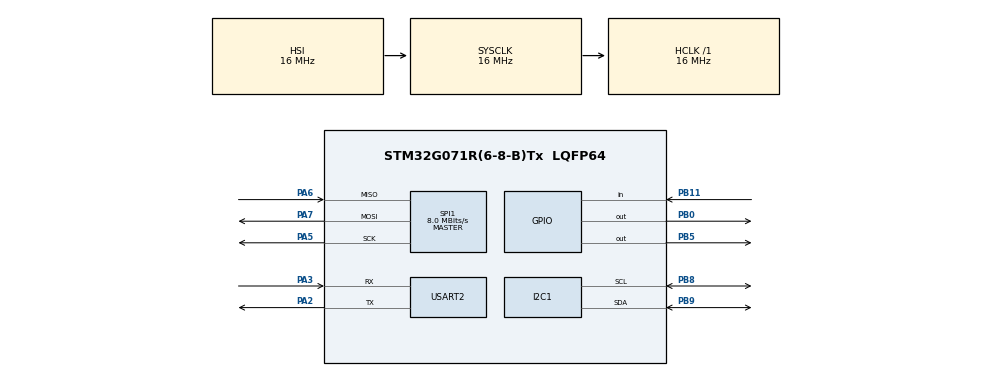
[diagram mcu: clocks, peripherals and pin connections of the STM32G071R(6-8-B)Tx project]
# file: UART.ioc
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I2C1.Timing=0x00503D58
Mcu.Family=STM32G0
Mcu.Name=STM32G071R(6-8-B)Tx
Mcu.Package=LQFP64
NVIC.USART2_IRQn=true\:0\:0\:false\:false\:true\:true\:true\:true
PA2.Mode=Asynchronous
PA2.Signal=USART2_TX
PA3.Mode=Asynchronous
PA3.Signal=USART2_RX
PA5.Mode=Full_Duplex_Master
PA5.Signal=SPI1_SCK
PA6.Mode=Full_Duplex_Master
PA6.Signal=SPI1_MISO
PA7.Mode=Full_Duplex_Master
PA7.Signal=SPI1_MOSI
PB0.Signal=GPIO_Output
PB11.Signal=GPIO_Input
PB5.Signal=GPIO_Output
PB8.Mode=I2C
PB8.Signal=I2C1_SCL
PB9.Mode=I2C
PB9.Signal=I2C1_SDA
ProjectManager.HeapSize=0x200
ProjectManager.StackSize=0x400
ProjectManager.TargetToolchain=STM32CubeIDE
RCC.AHBFreq_Value=16000000
RCC.CortexFreq_Value=16000000
RCC.EXTERNAL_CLOCK_VALUE=48000
RCC.HCLKFreq_Value=16000000
RCC.HSE_VALUE=8000000
RCC.HSI_VALUE=16000000
RCC.LSE_VALUE=32768
RCC.SYSCLKFreq_VALUE=16000000
RCC.VCOOutputFreq_Value=128000000
SPI1.CalculateBaudRate=8.0 MBits/s
SPI1.Direction=SPI_DIRECTION_2LINES
SPI1.Mode=SPI_MODE_MASTER
SPI1.VirtualType=VM_MASTER
USART2.VirtualMode-Asynchronous=VM_ASYNC
board=custom

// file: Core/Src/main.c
/* USER CODE BEGIN Header */
/**
 ******************************************************************************
 * @file           : main.c
 * @brief          : UART-command demo with BME68x sensor (I²C1) on STM32G071
 ******************************************************************************
 */
/* USER CODE END Header */
#include "main.h"

/* USER CODE BEGIN Includes */
#include "sx126x.h"
#include "sx126x_hal.h"
#include <bme68x.h>
#include <ctype.h>
#include <stdio.h>
#include <string.h>

/* USER CODE END Includes */

I2C_HandleTypeDef hi2c1;

SPI_HandleTypeDef hspi1;

UART_HandleTypeDef huart2;

/* USER CODE BEGIN PV */
#define RX_BUFFER_SIZE 100
static char rx_buffer[RX_BUFFER_SIZE];
static uint8_t rx_index = 0;
static uint8_t rx_char;
volatile uint8_t cmd_ready = 0; // Flag to indicate command is ready
volatile uint8_t cmd_buffer[RX_BUFFER_SIZE]; // Buffer for command processing
volatile uint8_t cmd_length = 0;             // Length of command
struct bme68x_dev bme;
int8_t bme_rslt;
/* LoRa Declarations */
const void *lora_context = NULL;
uint8_t emergency_stop = 0;

/* USER CODE END PV */

void SystemClock_Config(void);
static void MX_GPIO_Init(void);
static void MX_USART2_UART_Init(void);
static void MX_I2C1_Init(void);
static void MX_SPI1_Init(void);
/* USER CODE BEGIN PFP */
int8_t user_i2c_read(uint8_t reg_addr, uint8_t *data, uint32_t len,
                     void *intf_ptr);
int8_t user_i2c_write(uint8_t reg_addr, const uint8_t *data, uint32_t len,
                      void *intf_ptr);
void user_delay_us(uint32_t period, void *intf_ptr);
void BME68x_Init(void);
void process_command(char *command);
void lora_tx_message(const char *message);
void lora_continuous_tx(void);
uint8_t lora_detect_hardware(void);
void lora_configure(void);
void debug_busy_pin(void);
void lora_wait_for_not_busy(void);
/* USER CODE END PFP */

/* USER CODE BEGIN 0 */
/* LoRa config ---------------------------------------------------------------*/
#define LORA_FREQ_HZ 868000000
#define LORA_TX_POWER 14
#define LORA_PAYLOAD_LEN 18
uint8_t lora_payload[LORA_PAYLOAD_LEN] = "Hello from STM32!";

// GPIO Pin definitions
#define LORA_RESET_PIN GPIO_PIN_5
#define LORA_RESET_PORT GPIOB
#define LORA_BUSY_PIN GPIO_PIN_11
#define LORA_BUSY_PORT GPIOB
#define LORA_NSS_PIN GPIO_PIN_10
#define LORA_NSS_PORT GPIOB
// Bosch driver-compatible functions
int8_t user_i2c_read(uint8_t reg_addr, uint8_t *data, uint32_t len,
                     void *intf_ptr) {
  I2C_HandleTypeDef *i2c = (I2C_HandleTypeDef *)intf_ptr;
  uint8_t dev_addr = BME68X_I2C_ADDR_LOW << 1; // 0x76, change to _HIGH for 0x77
  if (HAL_I2C_Mem_Read(i2c, dev_addr, reg_addr, I2C_MEMADD_SIZE_8BIT, data, len,
                       HAL_MAX_DELAY) == HAL_OK)
    return BME68X_OK;
  else
    return BME68X_E_COM_FAIL;
}

int8_t user_i2c_write(uint8_t reg_addr, const uint8_t *data, uint32_t len,
                      void *intf_ptr) {
  I2C_HandleTypeDef *i2c = (I2C_HandleTypeDef *)intf_ptr;
  uint8_t dev_addr = BME68X_I2C_ADDR_LOW << 1; // 0x76, change to _HIGH for 0x77
  if (HAL_I2C_Mem_Write(i2c, dev_addr, reg_addr, I2C_MEMADD_SIZE_8BIT,
                        (uint8_t *)data, len, HAL_MAX_DELAY) == HAL_OK)
    return BME68X_OK;
  else
    return BME68X_E_COM_FAIL;
}

void user_delay_us(uint32_t period, void *intf_ptr) {
  // Convert microseconds to milliseconds (round up)
  uint32_t ms = (period + 999) / 1000;
  HAL_Delay(ms);
}

void BME68x_Init(void) {
  bme.intf = BME68X_I2C_INTF;
  bme.read = user_i2c_read;
  bme.write = user_i2c_write;
  bme.delay_us = user_delay_us;
  bme.intf_ptr = &hi2c1;
  bme.amb_temp = 25;

  /* Step 1: Init device */
  bme_rslt = bme68x_init(&bme);
  if (bme_rslt != BME68X_OK) {
    // Debug: BME680 init failed
    const char *debug_msg = "[STM32] BME680 init failed!\r\n";
    HAL_UART_Transmit(&huart2, (uint8_t *)debug_msg, strlen(debug_msg),
                      HAL_MAX_DELAY);
    Error_Handler();
  }

  // Debug: BME680 init successful
  const char *debug_msg = "[STM32] BME680 init successful!\r\n";
  HAL_UART_Transmit(&huart2, (uint8_t *)debug_msg, strlen(debug_msg),
                    HAL_MAX_DELAY);

  /* Step 2: Configure oversampling and filter */
  struct bme68x_conf conf;
  bme_rslt = bme68x_get_conf(&conf, &bme);
  if (bme_rslt != BME68X_OK)
    Error_Handler();

  conf.os_hum = BME68X_OS_1X;      // Fastest humidity reading
  conf.os_temp = BME68X_OS_1X;     // Fastest temperature reading
  conf.os_pres = BME68X_OS_1X;     // Fastest pressure reading
  conf.filter = BME68X_FILTER_OFF; // No filter for fastest response

  bme_rslt = bme68x_set_conf(&conf, &bme);
  if (bme_rslt != BME68X_OK)
    Error_Handler();

  /* Step 3: Heater config (disabled for faster response) */
  struct bme68x_heatr_conf heatr_conf;
  heatr_conf.enable = BME68X_DISABLE; // Disable heater for faster readings
  heatr_conf.heatr_temp = 320;        // in °C
  heatr_conf.heatr_dur = 150;         // in ms

  bme_rslt = bme68x_set_heatr_conf(BME68X_FORCED_MODE, &heatr_conf, &bme);
  if (bme_rslt != BME68X_OK)
    Error_Handler();
}
void debug_busy_pin(void) {
  const char msg[] = "Debugging BUSY pin...\r\n";
  HAL_UART_Transmit(&huart2, (uint8_t *)msg, strlen(msg), HAL_MAX_DELAY);

  for (int i = 0; i < 10; i++) {
    GPIO_PinState state = HAL_GPIO_ReadPin(LORA_BUSY_PORT, LORA_BUSY_PIN);
    char debug_msg[50];
    sprintf(debug_msg, "BUSY pin %d: %s\r\n", i,
            (state == GPIO_PIN_SET) ? "HIGH" : "LOW");
    HAL_UART_Transmit(&huart2, (uint8_t *)debug_msg, strlen(debug_msg),
                      HAL_MAX_DELAY);
    HAL_Delay(100);
  }
}

void lora_reset(void) {
    HAL_GPIO_WritePin(LORA_RESET_PORT, LORA_RESET_PIN, GPIO_PIN_RESET);
    HAL_Delay(10);
    HAL_GPIO_WritePin(LORA_RESET_PORT, LORA_RESET_PIN, GPIO_PIN_SET);
    HAL_Delay(10);
}

void lora_wait_for_not_busy(void) {
  while (HAL_GPIO_ReadPin(LORA_BUSY_PORT, LORA_BUSY_PIN) == GPIO_PIN_SET) {
    HAL_Delay(1);
  }
}

uint8_t lora_detect_hardware(void) {
  const char msg[] = "Detecting LoRa hardware (SPI)...\r\n";
  HAL_UART_Transmit(&huart2, (uint8_t *)msg, strlen(msg), HAL_MAX_DELAY);

  sx126x_chip_status_t chip_status;
  sx126x_get_status(lora_context, &chip_status);

  // Print the raw SPI response for diagnosis
  char dbg[64];
  sprintf(dbg, "chip_mode: 0x%02X, cmd_status: 0x%02X\r\n",
          chip_status.chip_mode, chip_status.cmd_status);
  HAL_UART_Transmit(&huart2, (uint8_t *)dbg, strlen(dbg), HAL_MAX_DELAY);

  if ((chip_status.chip_mode == 0x00 && chip_status.cmd_status == 0x00) ||
      (chip_status.chip_mode == 0xFF && chip_status.cmd_status == 0xFF)) {
    const char error[] = "ERROR: LoRa module not detected (SPI check)!\r\n";
    HAL_UART_Transmit(&huart2, (uint8_t *)error, strlen(error), HAL_MAX_DELAY);
    return 0;
  }

  const char success[] = "LoRa hardware detected (SPI check)!\r\n";
  HAL_UART_Transmit(&huart2, (uint8_t *)success, strlen(success),
                    HAL_MAX_DELAY);
  return 1;
}

void lora_configure(void) {
  const char msg[] = "Configuring LoRa module...\r\n";
  HAL_UART_Transmit(&huart2, (uint8_t *)msg, strlen(msg), HAL_MAX_DELAY);

  const char dbg1[] = "Calling lora_detect_hardware...\r\n";
  HAL_UART_Transmit(&huart2, (uint8_t *)dbg1, strlen(dbg1), HAL_MAX_DELAY);

  if (!lora_detect_hardware()) {
    const char dbg2[] = "lora_detect_hardware returned 0\r\n";
    HAL_UART_Transmit(&huart2, (uint8_t *)dbg2, strlen(dbg2), HAL_MAX_DELAY);
    return;
  }

  const char dbg3[] = "lora_detect_hardware returned 1\r\n";
  HAL_UART_Transmit(&huart2, (uint8_t *)dbg3, strlen(dbg3), HAL_MAX_DELAY);

  lora_reset();
  lora_wait_for_not_busy();

  sx126x_wakeup(lora_context);
  HAL_Delay(100);

  if (HAL_GPIO_ReadPin(LORA_BUSY_PORT, LORA_BUSY_PIN) == GPIO_PIN_SET) {
    const char error[] = "ERROR: LoRa module not responding after wakeup!\r\n";
    HAL_UART_Transmit(&huart2, (uint8_t *)error, strlen(error), HAL_MAX_DELAY);
    return;
  }

  sx126x_set_standby(lora_context, SX126X_STANDBY_CFG_RC);
  lora_wait_for_not_busy();

  sx126x_set_pkt_type(lora_context, SX126X_PKT_TYPE_LORA);
  lora_wait_for_not_busy();

  sx126x_set_rf_freq(lora_context, LORA_FREQ_HZ);
  lora_wait_for_not_busy();

  sx126x_mod_params_lora_t mod_params = {.sf = SX126X_LORA_SF7,
                                         .bw = SX126X_LORA_BW_125,
                                         .cr = SX126X_LORA_CR_4_5,
                                         .ldro = 0};
  sx126x_set_lora_mod_params(lora_context, &mod_params);
  lora_wait_for_not_busy();

  sx126x_pkt_params_lora_t pkt_params = {.preamble_len_in_symb = 8,
                                         .header_type =
                                             SX126X_LORA_PKT_EXPLICIT,
                                         .pld_len_in_bytes = LORA_PAYLOAD_LEN,
                                         .crc_is_on = true,
                                         .invert_iq_is_on = false};
  sx126x_set_lora_pkt_params(lora_context, &pkt_params);
  lora_wait_for_not_busy();

  sx126x_set_tx_params(lora_context, LORA_TX_POWER, SX126X_RAMP_200_US);
  lora_wait_for_not_busy();

  sx126x_set_buffer_base_address(lora_context, 0x00, 0x00);
  lora_wait_for_not_busy();

  sx126x_clear_irq_status(lora_context, SX126X_IRQ_ALL);
  lora_wait_for_not_busy();

  const char success[] = "LoRa module configured successfully!\r\n";
  HAL_UART_Transmit(&huart2, (uint8_t *)success, strlen(success),
                    HAL_MAX_DELAY);
}

void lora_tx_message(const char *message) {
  // Check hardware presence before TX
  if (!lora_detect_hardware()) {
    const char error[] = "ERROR: LoRa module not detected before TX!\r\n";
    HAL_UART_Transmit(&huart2, (uint8_t *)error, strlen(error), HAL_MAX_DELAY);
    return;
  }

  const char msg[] = "Sending LoRa message...\r\n";
  HAL_UART_Transmit(&huart2, (uint8_t *)msg, strlen(msg), HAL_MAX_DELAY);

  debug_busy_pin();

  GPIO_PinState busy_state = HAL_GPIO_ReadPin(LORA_BUSY_PORT, LORA_BUSY_PIN);
  char debug_msg[50];
  sprintf(debug_msg, "Current BUSY state: %s\r\n",
          (busy_state == GPIO_PIN_SET) ? "HIGH" : "LOW");
  HAL_UART_Transmit(&huart2, (uint8_t *)debug_msg, strlen(debug_msg),
                    HAL_MAX_DELAY);

  if (busy_state == GPIO_PIN_SET) {
    const char busy_msg[] = "LoRa module is busy, waiting...\r\n";
    HAL_UART_Transmit(&huart2, (uint8_t *)busy_msg, strlen(busy_msg),
                      HAL_MAX_DELAY);
    lora_wait_for_not_busy();
  }

  sx126x_clear_irq_status(lora_context, SX126X_IRQ_ALL);
  lora_wait_for_not_busy();

  uint8_t msg_len = strlen(message);
  if (msg_len > LORA_PAYLOAD_LEN)
    msg_len = LORA_PAYLOAD_LEN;

  sx126x_write_buffer(lora_context, 0x00, (uint8_t *)message, msg_len);
  lora_wait_for_not_busy();

  sx126x_pkt_params_lora_t pkt_params = {.preamble_len_in_symb = 8,
                                         .header_type =
                                             SX126X_LORA_PKT_EXPLICIT,
                                         .pld_len_in_bytes = msg_len,
                                         .crc_is_on = true,
                                         .invert_iq_is_on = false};
  sx126x_set_lora_pkt_params(lora_context, &pkt_params);
  lora_wait_for_not_busy();

  sx126x_set_tx(lora_context, 5000);
  lora_wait_for_not_busy();

  const char waiting[] = "Waiting for transmission to complete...\r\n";
  HAL_UART_Transmit(&huart2, (uint8_t *)waiting, strlen(waiting),
                    HAL_MAX_DELAY);

  uint32_t timeout = 0;
  while (timeout < 5000) {
    sx126x_irq_mask_t irq_status;
    sx126x_get_irq_status(lora_context, &irq_status);

    if (irq_status & SX126X_IRQ_TX_DONE) {
      const char success[] = "LoRa TX completed successfully!\r\n";
      HAL_UART_Transmit(&huart2, (uint8_t *)success, strlen(success),
                        HAL_MAX_DELAY);
      sx126x_clear_irq_status(lora_context, SX126X_IRQ_TX_DONE);

      sx126x_set_standby(lora_context, SX126X_STANDBY_CFG_RC);
      lora_wait_for_not_busy();
      return;
    }

    if (irq_status & SX126X_IRQ_TIMEOUT) {
      const char timeout_msg[] = "LoRa TX timeout!\r\n";
      HAL_UART_Transmit(&huart2, (uint8_t *)timeout_msg, strlen(timeout_msg),
                        HAL_MAX_DELAY);
      sx126x_clear_irq_status(lora_context, SX126X_IRQ_TIMEOUT);

      sx126x_set_standby(lora_context, SX126X_STANDBY_CFG_RC);
      lora_wait_for_not_busy();
      return;
    }

    HAL_Delay(1);
    timeout++;
  }

  const char error[] = "LoRa TX operation timed out!\r\n";
  HAL_UART_Transmit(&huart2, (uint8_t *)error, strlen(error), HAL_MAX_DELAY);

  sx126x_set_standby(lora_context, SX126X_STANDBY_CFG_RC);
  lora_wait_for_not_busy();
}

void lora_continuous_tx(void) {
    const char msg[] = "Starting continuous LoRa transmission for scanner...\r\n";
    HAL_UART_Transmit(&huart2, (uint8_t *)msg, strlen(msg), HAL_MAX_DELAY);
    const char help[] = "Look for signals around 868 MHz in your radio scanner\r\n";
    HAL_UART_Transmit(&huart2, (uint8_t *)help, strlen(help), HAL_MAX_DELAY);
    const char stop_help[] = "Type 'stop' to stop transmission\r\n";
    HAL_UART_Transmit(&huart2, (uint8_t *)stop_help, strlen(stop_help), HAL_MAX_DELAY);

    emergency_stop = 0;
    uint8_t counter = 0;

    while (!emergency_stop) {
        char message[50];
        sprintf(message, "STM32 LoRa Test Message #%d - Hello World!", counter++);

        sx126x_clear_irq_status(lora_context, SX126X_IRQ_ALL);
        lora_wait_for_not_busy();

        uint8_t msg_len = strlen(message);
        sx126x_write_buffer(lora_context, 0x00, (uint8_t*)message, msg_len);
        lora_wait_for_not_busy();

        sx126x_pkt_params_lora_t pkt_params = {
            .preamble_len_in_symb = 12,
            .header_type = SX126X_LORA_PKT_EXPLICIT,
            .pld_len_in_bytes = msg_len,
            .crc_is_on = true,
            .invert_iq_is_on = false
        };
        sx126x_set_lora_pkt_params(lora_context, &pkt_params);
        lora_wait_for_not_busy();

        sx126x_set_tx(lora_context, 1000);
        lora_wait_for_not_busy();

        uint32_t timeout = 0;
        while (timeout < 2000 && !emergency_stop) {
            sx126x_irq_mask_t irq_status;
            sx126x_get_irq_status(lora_context, &irq_status);

            if (irq_status & SX126X_IRQ_TX_DONE) {
                char success_msg[80];
                sprintf(success_msg, "Sent: %s\r\n", message);
                HAL_UART_Transmit(&huart2, (uint8_t *)success_msg, strlen(success_msg), HAL_MAX_DELAY);
                sx126x_clear_irq_status(lora_context, SX126X_IRQ_TX_DONE);
                break;
            }

            HAL_Delay(1);
            timeout++;
        }

        if (emergency_stop) {
            const char stop_msg[] = "Emergency stop requested!\r\n";
            HAL_UART_Transmit(&huart2, (uint8_t *)stop_msg, strlen(stop_msg), HAL_MAX_DELAY);
            break;
        }

        sx126x_set_standby(lora_context, SX126X_STANDBY_CFG_RC);
        lora_wait_for_not_busy();

        HAL_Delay(3000);
    }

    const char end_msg[] = "Continuous transmission stopped.\r\n";
    HAL_UART_Transmit(&huart2, (uint8_t *)end_msg, strlen(end_msg), HAL_MAX_DELAY);
}

void process_command(char *command) {
  // Convert to lowercase for case-insensitive comparison
  for (int i = 0; command[i]; i++) {
    command[i] = tolower((unsigned char)command[i]);
  }

  if (strcmp(command, "start") == 0) {
    const char banner[] =
        "[STM32] Available commands:\r\n"
        "  temp      - Read temperature\r\n"
        "  pressure  - Read pressure\r\n"
        "  humidity  - Read humidity\r\n"
        "  add x y   - Add two numbers (e.g., add 5.5 3.2)\r\n"
        "  lora tx   - Send LoRa message (TBD)\r\n";
    HAL_UART_Transmit(&huart2, (uint8_t *)banner, strlen(banner),
                      HAL_MAX_DELAY);
  } else if (strcmp(command, "temp") == 0) {
    struct bme68x_data data;
    uint8_t n_fields;

    bme_rslt = bme68x_set_op_mode(BME68X_FORCED_MODE, &bme);
    if (bme_rslt != BME68X_OK) {
      const char *msg = "[STM32] Failed to start measurement\r\n";
      HAL_UART_Transmit(&huart2, (uint8_t *)msg, strlen(msg), HAL_MAX_DELAY);
      return;
    }

    // Wait for measurement to complete
    struct bme68x_conf conf;
    bme68x_get_conf(&conf, &bme);
    uint32_t meas_dur = bme68x_get_meas_dur(BME68X_FORCED_MODE, &conf, &bme);

    // Debug: Show measurement duration
    char debug_buffer[64];
    snprintf(debug_buffer, sizeof(debug_buffer),
             "[DEBUG] Measurement duration: %lu us\r\n", meas_dur);
    HAL_UART_Transmit(&huart2, (uint8_t *)debug_buffer, strlen(debug_buffer),
                      HAL_MAX_DELAY);

    user_delay_us(meas_dur, &bme);

    bme_rslt = bme68x_get_data(BME68X_FORCED_MODE, &data, &n_fields, &bme);
    if (bme_rslt == BME68X_OK && n_fields) {
      char temp_buffer[64];
      snprintf(temp_buffer, sizeof(temp_buffer),
               "[STM32] Temperature: %.2f °C\r\n", data.temperature);
      HAL_UART_Transmit(&huart2, (uint8_t *)temp_buffer, strlen(temp_buffer),
                        HAL_MAX_DELAY);
    } else {
      const char *msg = "[STM32] Sensor read failed\r\n";
      HAL_UART_Transmit(&huart2, (uint8_t *)msg, strlen(msg), HAL_MAX_DELAY);
    }
  } else if (strcmp(command, "pressure") == 0) {
    struct bme68x_data data;
    uint8_t n_fields;

    bme_rslt = bme68x_set_op_mode(BME68X_FORCED_MODE, &bme);
    if (bme_rslt != BME68X_OK) {
      const char *msg = "[STM32] Failed to start measurement\r\n";
      HAL_UART_Transmit(&huart2, (uint8_t *)msg, strlen(msg), HAL_MAX_DELAY);
      return;
    }

    // Wait for measurement to complete
    struct bme68x_conf conf;
    bme68x_get_conf(&conf, &bme);
    uint32_t meas_dur = bme68x_get_meas_dur(BME68X_FORCED_MODE, &conf, &bme);
    user_delay_us(meas_dur, &bme);

    bme_rslt = bme68x_get_data(BME68X_FORCED_MODE, &data, &n_fields, &bme);
    if (bme_rslt == BME68X_OK && n_fields) {
      char pressure_buffer[64];
      snprintf(pressure_buffer, sizeof(pressure_buffer),
               "[STM32] Pressure: %.2f hPa\r\n", data.pressure / 100.0f);
      HAL_UART_Transmit(&huart2, (uint8_t *)pressure_buffer,
                        strlen(pressure_buffer), HAL_MAX_DELAY);
    } else {
      const char *msg = "[STM32] Sensor read failed\r\n";
      HAL_UART_Transmit(&huart2, (uint8_t *)msg, strlen(msg), HAL_MAX_DELAY);
    }
  } else if (strcmp(command, "humidity") == 0) {
    struct bme68x_data data;
    uint8_t n_fields;

    bme_rslt = bme68x_set_op_mode(BME68X_FORCED_MODE, &bme);
    if (bme_rslt != BME68X_OK) {
      const char *msg = "[STM32] Failed to start measurement\r\n";
      HAL_UART_Transmit(&huart2, (uint8_t *)msg, strlen(msg), HAL_MAX_DELAY);
      return;
    }

    // Wait for measurement to complete
    struct bme68x_conf conf;
    bme68x_get_conf(&conf, &bme);
    uint32_t meas_dur = bme68x_get_meas_dur(BME68X_FORCED_MODE, &conf, &bme);
    user_delay_us(meas_dur, &bme);

    bme_rslt = bme68x_get_data(BME68X_FORCED_MODE, &data, &n_fields, &bme);
    if (bme_rslt == BME68X_OK && n_fields) {
      char humidity_buffer[64];
      snprintf(humidity_buffer, sizeof(humidity_buffer),
               "[STM32] Humidity: %.2f %%\r\n", data.humidity);
      HAL_UART_Transmit(&huart2, (uint8_t *)humidity_buffer,
                        strlen(humidity_buffer), HAL_MAX_DELAY);
    } else {
      const char *msg = "[STM32] Sensor read failed\r\n";
      HAL_UART_Transmit(&huart2, (uint8_t *)msg, strlen(msg), HAL_MAX_DELAY);
    }
  } else if (strncmp(command, "add ", 4) == 0) {
    // Debug: Show the exact command received
    char debug_buffer[128];
    snprintf(debug_buffer, sizeof(debug_buffer),
             "[DEBUG] Command received: '%s' (length: %d)\r\n", command,
             strlen(command));
    HAL_UART_Transmit(&huart2, (uint8_t *)debug_buffer, strlen(debug_buffer),
                      HAL_MAX_DELAY);

    // Parse "add x y" command
    float x, y;
    int parsed = sscanf(command + 4, "%f %f", &x, &y);
    if (parsed == 2) {
      float result = x + y;
      char add_buffer[64];
      snprintf(add_buffer, sizeof(add_buffer), "[STM32] %g + %g = %g\r\n", x, y,
               result);
      HAL_UART_Transmit(&huart2, (uint8_t *)add_buffer, strlen(add_buffer),
                        HAL_MAX_DELAY);
    } else {
      const char *msg = "[STM32] Usage: add <number1> <number2>\r\n";
      HAL_UART_Transmit(&huart2, (uint8_t *)msg, strlen(msg), HAL_MAX_DELAY);
    }
  } else if (strcmp(command, "lora tx") == 0) {
    lora_tx_message("Hello from STM32 LoRa!");
  } else if (strcmp(command, "lora scan") == 0) {
      lora_continuous_tx();
  } else {
    const char err[] = "[STM32] Unknown command\r\n";
    HAL_UART_Transmit(&huart2, (uint8_t *)err, strlen(err), HAL_MAX_DELAY);
  }
}
void HAL_UART_RxCpltCallback(UART_HandleTypeDef *huart) {
  if (huart->Instance == USART2) {
    if (rx_char == '\r') // Enter pressed
    {
      // Copy command to processing buffer
      for (int i = 0; i < rx_index; i++) {
        cmd_buffer[i] = rx_buffer[i];
      }
      cmd_buffer[rx_index] = '\0';
      cmd_length = rx_index;

      // Set flag to indicate command is ready
      cmd_ready = 1;

      // Reset buffer
      rx_index = 0;
    } else if (rx_index < RX_BUFFER_SIZE - 1) {
      rx_buffer[rx_index++] = rx_char;
    }

    // Restart reception
    HAL_UART_Receive_IT(&huart2, &rx_char, 1);
  }
}

/* USER CODE END 0 */

int main(void) {

  /* MCU Configuration--------------------------------------------------------*/

  /* Reset of all peripherals, Initializes the Flash interface and the Systick.
   */
  HAL_Init();

  /* Configure the system clock */
  SystemClock_Config();

  /* Initialize all configured peripherals */
  MX_GPIO_Init();
  MX_USART2_UART_Init();
  MX_I2C1_Init();
  MX_SPI1_Init();
  /* USER CODE BEGIN 2 */
  // Initialize BME680 sensor
  BME68x_Init();

  HAL_UART_Receive_IT(&huart2, &rx_char, 1);

  const char *banner = "\r\n[STM32] UART+BME68x Ready\r\n";
  HAL_UART_Transmit(&huart2, (uint8_t *)banner, strlen(banner), HAL_MAX_DELAY);

  // Send initial prompt
  const char prompt[] = "> ";
  HAL_UART_Transmit(&huart2, (uint8_t *)prompt, strlen(prompt), HAL_MAX_DELAY);

  /* USER CODE END 2 */

  /* Infinite loop */
  while (1) {

    /* USER CODE BEGIN 3 */
    // Check if command is ready to process
    if (cmd_ready) {
      // Convert volatile buffer to local buffer
      char local_cmd[RX_BUFFER_SIZE];
      for (int i = 0; i < cmd_length; i++) {
        local_cmd[i] = (char)cmd_buffer[i];
      }
      local_cmd[cmd_length] = '\0';

      // Process the command
      process_command(local_cmd);

      // Send newline and prompt
      const char newline[] = "\r\n";
      HAL_UART_Transmit(&huart2, (uint8_t *)newline, strlen(newline),
                        HAL_MAX_DELAY);

      const char prompt[] = "> ";
      HAL_UART_Transmit(&huart2, (uint8_t *)prompt, strlen(prompt),
                        HAL_MAX_DELAY);

      // Clear the flag
      cmd_ready = 0;
    }
  }
  /* USER CODE END 3 */
}

void SystemClock_Config(void) {
  RCC_OscInitTypeDef RCC_OscInitStruct = {0};
  RCC_ClkInitTypeDef RCC_ClkInitStruct = {0};

  /** Configure the main internal regulator output voltage
   */
  HAL_PWREx_ControlVoltageScaling(PWR_REGULATOR_VOLTAGE_SCALE1);

  /** Initializes the RCC Oscillators according to the specified parameters
   * in the RCC_OscInitTypeDef structure.
   */
  RCC_OscInitStruct.OscillatorType = RCC_OSCILLATORTYPE_HSI;
  RCC_OscInitStruct.HSIState = RCC_HSI_ON;
  RCC_OscInitStruct.HSIDiv = RCC_HSI_DIV1;
  RCC_OscInitStruct.HSICalibrationValue = RCC_HSICALIBRATION_DEFAULT;
  RCC_OscInitStruct.PLL.PLLState = RCC_PLL_NONE;
  if (HAL_RCC_OscConfig(&RCC_OscInitStruct) != HAL_OK) {
    Error_Handler();
  }

  /** Initializes the CPU, AHB and APB buses clocks
   */
  RCC_ClkInitStruct.ClockType =
      RCC_CLOCKTYPE_HCLK | RCC_CLOCKTYPE_SYSCLK | RCC_CLOCKTYPE_PCLK1;
  RCC_ClkInitStruct.SYSCLKSource = RCC_SYSCLKSOURCE_HSI;
  RCC_ClkInitStruct.AHBCLKDivider = RCC_SYSCLK_DIV1;
  RCC_ClkInitStruct.APB1CLKDivider = RCC_HCLK_DIV1;

  if (HAL_RCC_ClockConfig(&RCC_ClkInitStruct, FLASH_LATENCY_0) != HAL_OK) {
    Error_Handler();
  }
}

static void MX_I2C1_Init(void) {

  hi2c1.Instance = I2C1;
  hi2c1.Init.Timing = 0x00503D58;
  hi2c1.Init.OwnAddress1 = 0;
  hi2c1.Init.AddressingMode = I2C_ADDRESSINGMODE_7BIT;
  hi2c1.Init.DualAddressMode = I2C_DUALADDRESS_DISABLE;
  hi2c1.Init.OwnAddress2 = 0;
  hi2c1.Init.OwnAddress2Masks = I2C_OA2_NOMASK;
  hi2c1.Init.GeneralCallMode = I2C_GENERALCALL_DISABLE;
  hi2c1.Init.NoStretchMode = I2C_NOSTRETCH_DISABLE;
  if (HAL_I2C_Init(&hi2c1) != HAL_OK) {
    Error_Handler();
  }

  /** Configure Analogue filter
   */
  if (HAL_I2CEx_ConfigAnalogFilter(&hi2c1, I2C_ANALOGFILTER_ENABLE) != HAL_OK) {
    Error_Handler();
  }

  /** Configure Digital filter
   */
  if (HAL_I2CEx_ConfigDigitalFilter(&hi2c1, 0) != HAL_OK) {
    Error_Handler();
  }
}

static void MX_SPI1_Init(void) {

  /* SPI1 parameter configuration*/
  hspi1.Instance = SPI1;
  hspi1.Init.Mode = SPI_MODE_MASTER;
  hspi1.Init.Direction = SPI_DIRECTION_2LINES;
  hspi1.Init.DataSize = SPI_DATASIZE_4BIT;
  hspi1.Init.CLKPolarity = SPI_POLARITY_LOW;
  hspi1.Init.CLKPhase = SPI_PHASE_1EDGE;
  hspi1.Init.NSS = SPI_NSS_SOFT;
  hspi1.Init.BaudRatePrescaler = SPI_BAUDRATEPRESCALER_2;
  hspi1.Init.FirstBit = SPI_FIRSTBIT_MSB;
  hspi1.Init.TIMode = SPI_TIMODE_DISABLE;
  hspi1.Init.CRCCalculation = SPI_CRCCALCULATION_DISABLE;
  hspi1.Init.CRCPolynomial = 7;
  hspi1.Init.CRCLength = SPI_CRC_LENGTH_DATASIZE;
  hspi1.Init.NSSPMode = SPI_NSS_PULSE_ENABLE;
  if (HAL_SPI_Init(&hspi1) != HAL_OK) {
    Error_Handler();
  }
}

static void MX_USART2_UART_Init(void) {

  huart2.Instance = USART2;
  huart2.Init.BaudRate = 115200;
  huart2.Init.WordLength = UART_WORDLENGTH_8B;
  huart2.Init.StopBits = UART_STOPBITS_1;
  huart2.Init.Parity = UART_PARITY_NONE;
  huart2.Init.Mode = UART_MODE_TX_RX;
  huart2.Init.HwFlowCtl = UART_HWCONTROL_NONE;
  huart2.Init.OverSampling = UART_OVERSAMPLING_16;
  huart2.Init.OneBitSampling = UART_ONE_BIT_SAMPLE_DISABLE;
  huart2.Init.ClockPrescaler = UART_PRESCALER_DIV1;
  huart2.AdvancedInit.AdvFeatureInit = UART_ADVFEATURE_NO_INIT;
  if (HAL_UART_Init(&huart2) != HAL_OK) {
    Error_Handler();
  }
  if (HAL_UARTEx_SetTxFifoThreshold(&huart2, UART_TXFIFO_THRESHOLD_1_8) !=
      HAL_OK) {
    Error_Handler();
  }
  if (HAL_UARTEx_SetRxFifoThreshold(&huart2, UART_RXFIFO_THRESHOLD_1_8) !=
      HAL_OK) {
    Error_Handler();
  }
  if (HAL_UARTEx_DisableFifoMode(&huart2) != HAL_OK) {
    Error_Handler();
  }
}

static void MX_GPIO_Init(void) {
  GPIO_InitTypeDef GPIO_InitStruct = {0};

  /* GPIO Ports Clock Enable */
  __HAL_RCC_GPIOA_CLK_ENABLE();
  __HAL_RCC_GPIOB_CLK_ENABLE();

  /*Configure GPIO pin Output Level */
  HAL_GPIO_WritePin(GPIOB, GPIO_PIN_0 | GPIO_PIN_5, GPIO_PIN_RESET);

  /*Configure GPIO pins : PB0 PB5 */
  GPIO_InitStruct.Pin = GPIO_PIN_0 | GPIO_PIN_5;
  GPIO_InitStruct.Mode = GPIO_MODE_OUTPUT_PP;
  GPIO_InitStruct.Pull = GPIO_NOPULL;
  GPIO_InitStruct.Speed = GPIO_SPEED_FREQ_LOW;
  HAL_GPIO_Init(GPIOB, &GPIO_InitStruct);

  /*Configure GPIO pin : PB11 */
  GPIO_InitStruct.Pin = GPIO_PIN_11;
  GPIO_InitStruct.Mode = GPIO_MODE_INPUT;
  GPIO_InitStruct.Pull = GPIO_NOPULL;
  HAL_GPIO_Init(GPIOB, &GPIO_InitStruct);

}

void Error_Handler(void) {
  __disable_irq();
  while (1) {
  }
}

#ifdef USE_FULL_ASSERT
/**
 * @brief  Reports the name of the source file and the source line number
 *         where the assert_param error has occurred.
 * @param  file: pointer to the source file name
 * @param  line: assert_param error line source number
 * @retval None
 */
void assert_failed(uint8_t *file, uint32_t line) {
  /* USER CODE BEGIN 6 */
  /* User can add his own implementation to report the file name and line
     number, ex: printf("Wrong parameters value: file %s on line %d\r\n", file,
     line) */
  /* USER CODE END 6 */
}
#endif /* USE_FULL_ASSERT */
